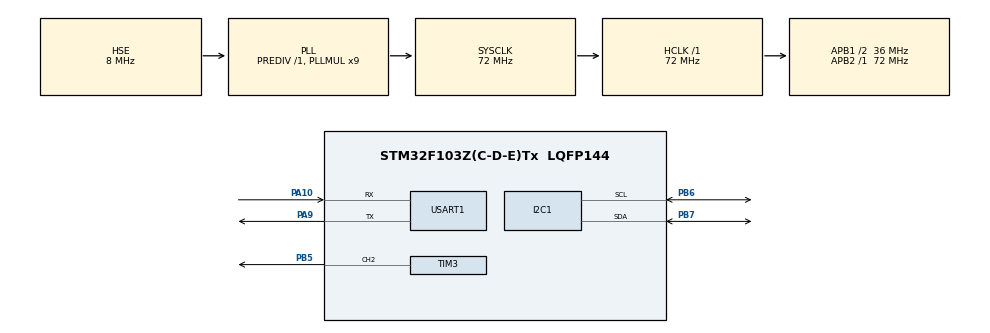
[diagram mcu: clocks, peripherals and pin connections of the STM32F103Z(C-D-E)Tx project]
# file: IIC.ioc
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Dma.I2C1_RX.0.Direction=DMA_PERIPH_TO_MEMORY
Dma.I2C1_RX.0.Instance=DMA1_Channel7
Dma.I2C1_RX.0.MemDataAlignment=DMA_MDATAALIGN_HALFWORD
Dma.I2C1_RX.0.MemInc=DMA_MINC_ENABLE
Dma.I2C1_RX.0.Mode=DMA_NORMAL
Dma.I2C1_RX.0.PeriphDataAlignment=DMA_PDATAALIGN_HALFWORD
Dma.I2C1_RX.0.PeriphInc=DMA_PINC_DISABLE
Dma.I2C1_RX.0.Priority=DMA_PRIORITY_LOW
Dma.I2C1_TX.1.Direction=DMA_MEMORY_TO_PERIPH
Dma.I2C1_TX.1.Instance=DMA1_Channel6
Dma.I2C1_TX.1.MemDataAlignment=DMA_MDATAALIGN_HALFWORD
Dma.I2C1_TX.1.MemInc=DMA_MINC_ENABLE
Dma.I2C1_TX.1.Mode=DMA_NORMAL
Dma.I2C1_TX.1.PeriphDataAlignment=DMA_PDATAALIGN_HALFWORD
Dma.I2C1_TX.1.PeriphInc=DMA_PINC_DISABLE
Dma.I2C1_TX.1.Priority=DMA_PRIORITY_LOW
Dma.Request0=I2C1_RX
Dma.Request1=I2C1_TX
Mcu.Family=STM32F1
Mcu.Name=STM32F103Z(C-D-E)Tx
Mcu.Package=LQFP144
NVIC.DMA1_Channel6_IRQn=true\:0\:0\:false\:false\:true\:false\:true\:true
NVIC.DMA1_Channel7_IRQn=true\:0\:0\:false\:false\:true\:false\:true\:true
NVIC.PriorityGroup=NVIC_PRIORITYGROUP_4
NVIC.USART1_IRQn=true\:0\:0\:false\:false\:true\:true\:true\:true
OSC_IN.Mode=HSE-External-Oscillator
OSC_IN.Signal=RCC_OSC_IN
OSC_OUT.Mode=HSE-External-Oscillator
OSC_OUT.Signal=RCC_OSC_OUT
PA10.Mode=Asynchronous
PA10.Signal=USART1_RX
PA9.Mode=Asynchronous
PA9.Signal=USART1_TX
PB5.Signal=S_TIM3_CH2
PB6.Mode=I2C
PB6.Signal=I2C1_SCL
PB7.Mode=I2C
PB7.Signal=I2C1_SDA
ProjectManager.HeapSize=0x200
ProjectManager.StackSize=0x400
ProjectManager.TargetToolchain=STM32CubeIDE
RCC.AHBFreq_Value=72000000
RCC.APB1CLKDivider=RCC_HCLK_DIV2
RCC.APB1Freq_Value=36000000
RCC.APB1TimFreq_Value=72000000
RCC.APB2Freq_Value=72000000
RCC.APB2TimFreq_Value=72000000
RCC.HCLKFreq_Value=72000000
RCC.PLLMUL=RCC_PLL_MUL9
RCC.PLLSourceVirtual=RCC_PLLSOURCE_HSE
RCC.SYSCLKFreq_VALUE=72000000
RCC.SYSCLKSource=RCC_SYSCLKSOURCE_PLLCLK
RCC.USBFreq_Value=72000000
SH.S_TIM3_CH2.0=TIM3_CH2,PWM Generation2 CH2
TIM3.AutoReloadPreload=TIM_AUTORELOAD_PRELOAD_ENABLE
TIM3.Channel-PWM\ Generation2\ CH2=TIM_CHANNEL_2
TIM3.Period=10000-1
TIM3.Prescaler=3600-1
TIM3.Pulse-PWM\ Generation2\ CH2=5000
USART1.VirtualMode=VM_ASYNC
VP_SYS_VS_ND.Mode=No_Debug
VP_TIM3_VS_ClockSourceINT.Mode=Internal
board=custom

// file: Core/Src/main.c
/* USER CODE BEGIN Header */
/**
  ******************************************************************************
  * @file           : main.c
  * @brief          : Main program body
  ******************************************************************************
  * @attention
  *
  * Copyright (c) 2023 STMicroelectronics.
  * All rights reserved.
  *
  * This software is licensed under terms that can be found in the LICENSE file
  * in the root directory of this software component.
  * If no LICENSE file comes with this software, it is provided AS-IS.
  *
  ******************************************************************************
  */
/* USER CODE END Header */
#include "main.h"
#include "dma.h"
#include "i2c.h"
#include "tim.h"
#include "usart.h"
#include "gpio.h"

/* USER CODE BEGIN Includes */
#include "stdio.h"
/* USER CODE END Includes */

/* USER CODE BEGIN PD */
#ifdef __GNUC__
#define PUTCHAR_PROTOTYPE int __io_putchar(int ch)
#else
#define PUTCHAR_PROTOTYPE int fputc(int ch, FILE *f)
#endif

PUTCHAR_PROTOTYPE {
    HAL_UART_Transmit(&huart1, (uint8_t *) &ch, 1, 0xFFFF);//??????????,????1
    return ch;
}
/* USER CODE END PD */

void SystemClock_Config(void);

/* USER CODE BEGIN 0 */
void IIC_Test(){
    uint8_t Write_Data[5] = {1,2,3,4,5};
    uint8_t Read_date[10] = {0};
    uint8_t result;
    unsigned long res;
    printf("设备初始化\n");
    result = HAL_I2C_Mem_Write_DMA(&hi2c1,0xA0,0x08,I2C_MEMADD_SIZE_8BIT,Write_Data,1);
    if (result == HAL_OK){
        printf("写入数据成功!\n");
    } else{
        printf("写入失败\n");
    }
//    HAL_Delay(20);
//    HAL_I2C_Mem_Read_DMA()
//    HAL_I2C_Mem_Write()
//    HAL_I2C_Mem_Read()
//    HAL_I2C_Mem_Write_DMA()
    HAL_I2C_DeInit(&hi2c1);
    MX_I2C1_Init();
    result = HAL_I2C_Mem_Read_DMA(&hi2c1,0xA1,0x08,I2C_MEMADD_SIZE_8BIT,Read_date, 1);
    if (result == HAL_OK){
        printf("读取成功!\n");
    } else{
        printf("读取失败\n");
    }

}
/* USER CODE END 0 */

int main(void)
{

  /* MCU Configuration--------------------------------------------------------*/

  /* Reset of all peripherals, Initializes the Flash interface and the Systick. */
  HAL_Init();

  /* Configure the system clock */
  SystemClock_Config();

  /* Initialize all configured peripherals */
  MX_GPIO_Init();
  MX_DMA_Init();
  MX_I2C1_Init();
  MX_TIM3_Init();
  MX_USART1_UART_Init();
  /* USER CODE BEGIN 2 */
    HAL_TIM_PWM_Start(&htim3,TIM_CHANNEL_2);
    IIC_Test();
  /* USER CODE END 2 */

  /* Infinite loop */
  while (1)
  {

  }
}

void SystemClock_Config(void)
{
  RCC_OscInitTypeDef RCC_OscInitStruct = {0};
  RCC_ClkInitTypeDef RCC_ClkInitStruct = {0};

  /** Initializes the RCC Oscillators according to the specified parameters
  * in the RCC_OscInitTypeDef structure.
  */
  RCC_OscInitStruct.OscillatorType = RCC_OSCILLATORTYPE_HSE;
  RCC_OscInitStruct.HSEState = RCC_HSE_ON;
  RCC_OscInitStruct.HSEPredivValue = RCC_HSE_PREDIV_DIV1;
  RCC_OscInitStruct.HSIState = RCC_HSI_ON;
  RCC_OscInitStruct.PLL.PLLState = RCC_PLL_ON;
  RCC_OscInitStruct.PLL.PLLSource = RCC_PLLSOURCE_HSE;
  RCC_OscInitStruct.PLL.PLLMUL = RCC_PLL_MUL9;
  if (HAL_RCC_OscConfig(&RCC_OscInitStruct) != HAL_OK)
  {
    Error_Handler();
  }

  /** Initializes the CPU, AHB and APB buses clocks
  */
  RCC_ClkInitStruct.ClockType = RCC_CLOCKTYPE_HCLK|RCC_CLOCKTYPE_SYSCLK
                              |RCC_CLOCKTYPE_PCLK1|RCC_CLOCKTYPE_PCLK2;
  RCC_ClkInitStruct.SYSCLKSource = RCC_SYSCLKSOURCE_PLLCLK;
  RCC_ClkInitStruct.AHBCLKDivider = RCC_SYSCLK_DIV1;
  RCC_ClkInitStruct.APB1CLKDivider = RCC_HCLK_DIV2;
  RCC_ClkInitStruct.APB2CLKDivider = RCC_HCLK_DIV1;

  if (HAL_RCC_ClockConfig(&RCC_ClkInitStruct, FLASH_LATENCY_2) != HAL_OK)
  {
    Error_Handler();
  }
}

void Error_Handler(void)
{
  __disable_irq();
  while (1)
  {
  }
}
